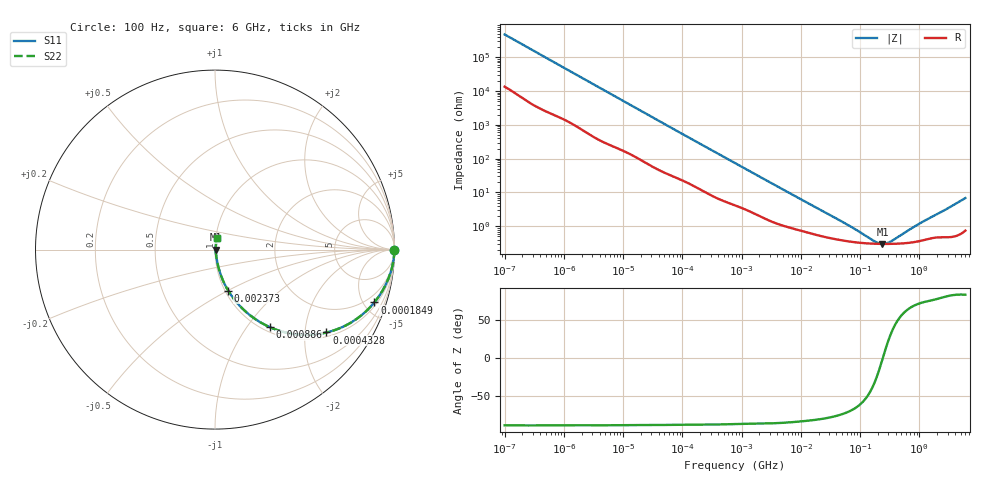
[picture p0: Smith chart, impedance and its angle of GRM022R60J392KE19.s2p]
!Murata Part Number: GRM022R60J392KE19
!These Parameters are Measured in Series Mode Connection
!Data Generated on Mar 30, 2021
!  o--ll--o
!Port1  Port2
!  o------o
!Operation Temp=25[degC], DC Bias Voltage=0[V]
!Freq. Start=100[Hz] Stop=6[GHz] 401[Steps]
# Hz S RI R 50
!Freq.(Hz) S11(Real) S11(Imag) S21(Real) S21(Imag) S12(Real) S12(Imag) S22(Real) S22(Imag)
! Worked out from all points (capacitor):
!   401 points, 100 Hz to 6 GHz, reference 50 ohm
!   read as one part in series: C = 3.35 nF near 109 Hz
!   lowest |Z| = 302 mohm at 238.8 MHz (marker M1)
!   series resonance near 241.8 MHz, so ESL is about 130 pH
!   S11 on the Smith chart (normalised r, x): 100 Hz: open; 184.9 kHz: 1.26, -5.94; 432.8 kHz: 1.12, -2.59; 886 kHz: 1.08, -1.29; 2.373 MHz: 1.03, -0.50; 6 GHz: 1.01, +0.14
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100  1 -0.000212  6.1e-06 0.000212  6.1e-06 0.000212  1 -0.000212
2008  0.9999 -0.00403  0.000133 0.00403  0.000133 0.00403  0.9999 -0.00403
12592  0.9986 -0.0244  0.00144 0.0244  0.00144 0.0244  0.9986 -0.0244
40335  0.9916 -0.0755  0.00843 0.0755  0.00843 0.0755  0.9916 -0.0755
98762  0.9606 -0.1746  0.0394 0.1746  0.0394 0.1746  0.9606 -0.1746
184852  0.8878 -0.2941  0.1122 0.2941  0.1122 0.2941  0.8878 -0.2941
276587  0.7907 -0.385  0.2093 0.385  0.2093 0.385  0.7907 -0.385
432798  0.6211 -0.4618  0.3789 0.4618  0.3789 0.4618  0.6211 -0.4618
566185  0.4987 -0.475  0.5013 0.475  0.5013 0.475  0.4987 -0.475
774597  0.3591 -0.4523  0.6409 0.4523  0.6409 0.4523  0.3591 -0.4523
885955  0.3055 -0.4321  0.6945 0.4321  0.6945 0.4321  0.3055 -0.4321
1386327  0.1662 -0.3412  0.8338 0.3412  0.8338 0.3412  0.1662 -0.3412
2372521  0.0735 -0.2284  0.9265 0.2284  0.9265 0.2284  0.0735 -0.2284
5554849  0.0214 -0.1067  0.9786 0.1067  0.9786 0.1067  0.0214 -0.1067
1.555665e7  0.00761 -0.0406  0.9924 0.0406  0.9924 0.0406  0.00761 -0.0406
6.233367e7  0.0037 -0.0103  0.9963 0.0103  0.9963 0.0103  0.0037 -0.0103
1.745687e8  0.00305 -0.00195  0.997 0.00195  0.997 0.00195  0.00305 -0.00195
2.088084e8  0.00302 -0.000865  0.997 0.000865  0.997 0.000865  0.00302 -0.000865
2.388273e8  0.00301 -7.12e-05  0.997 7.12e-05  0.997 7.12e-05  0.00301 -7.12e-05
3.124326e8  0.00301 0.00153  0.997 -0.00153  0.997 -0.00153  0.00301 0.00153
1.000774e9  0.00375 0.0113  0.9962 -0.0113  0.9962 -0.0113  0.00375 0.0113
6e9  0.0119 0.0669  0.9881 -0.0669  0.9881 -0.0669  0.0119 0.0669
